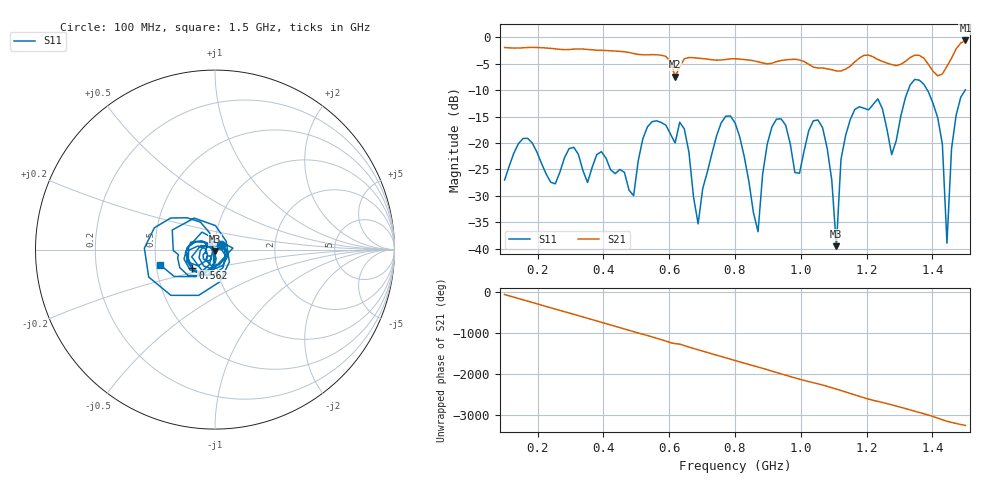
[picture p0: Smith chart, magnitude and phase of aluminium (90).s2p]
! NanoVNA-App
! Date: 2025-09-25 14:55:58
! Start: 100MHz Stop: 1,5GHz Points: 101
! S-Parameter data: F S11 S21 S12 S22
# Hz S RI R 50
!  Frequency  S11_Real  S11_Imag  S21_Real  S21_Imag  S12_Real  S12_Imag  S22_Real  S22_Imag
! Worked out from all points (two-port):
!   101 points, 100 MHz to 1.5 GHz, reference 50 ohm
!   highest |S21| = -0.58 dB at 1.5 GHz (marker M1); lowest = -7.4 dB at 618 MHz (marker M2)
!   |S21| within 3 dB of the highest: start of sweep to 589 MHz; 1.461 GHz to end of sweep (the widest 2 of 4)
!   lowest |S11| = -39.5 dB at 1.108 GHz (marker M3), VSWR 1.02, Z = 50.1 - j1.05 ohm
!   |S11| at or under -10 dB: start of sweep to 1.326 GHz; 1.384 GHz to 1.499 GHz (114.8 MHz wide, 7.96 % of centre)
!   S12 and S22 are empty: the file has one direction only
!   S11 on the Smith chart (normalised r, x): 100 MHz: 1.07, +0.06; 562 MHz: 0.76, -0.16; 1.5 GHz: 0.52, -0.10
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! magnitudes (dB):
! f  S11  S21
! 100 MHz  -27.0  -1.9
! 338 MHz  -25.2  -2.2
! 492 MHz  -30.0  -3.1
! 562 MHz  -15.8  -3.3
! 576 MHz  -16.1  -3.4
! 618 MHz  -20.0  -7.4
! 688 MHz  -35.3  -3.9
! 800 MHz  -16.2  -4.0
! 870 MHz  -36.8  -4.6
! 912 MHz  -17.0  -4.9
! 996 MHz  -25.7  -4.3
! 1.038 GHz  -15.8  -5.6
! 1.08 GHz  -21.0  -5.9
! 1.108 GHz  -39.5  -6.4
! 1.122 GHz  -23.1  -6.4
! 1.164 GHz  -13.6  -4.6
! 1.276 GHz  -22.2  -5.1
! 1.374 GHz  -8.9  -4.0
! 1.43 GHz  -20.2  -6.9
! 1.444 GHz  -39.0  -5.5
! 1.458 GHz  -21.0  -3.9
! 1.5 GHz  -9.9  -0.6
